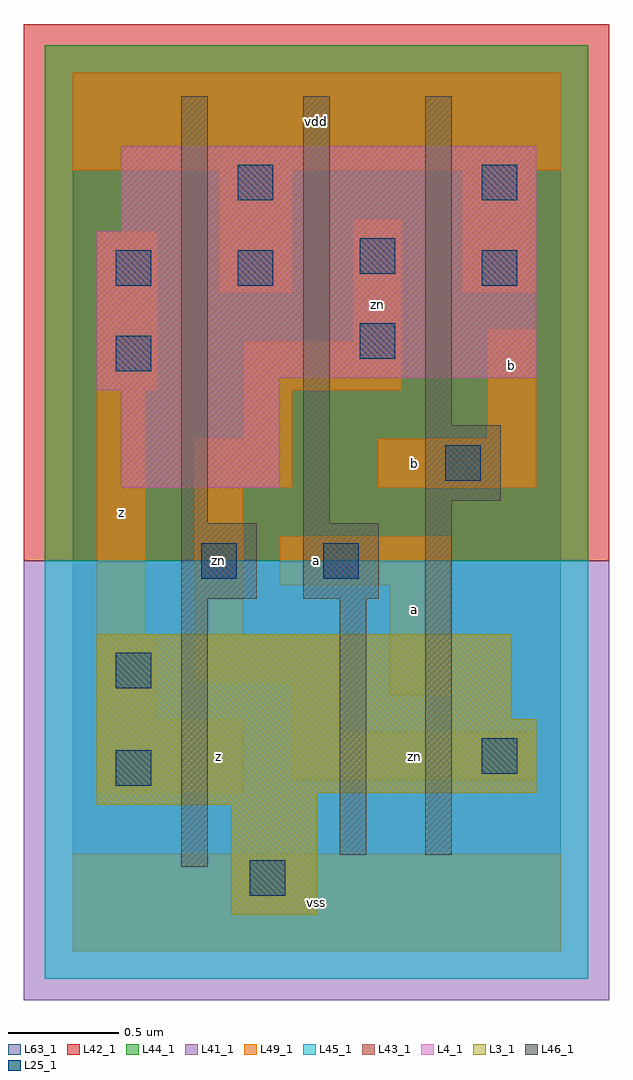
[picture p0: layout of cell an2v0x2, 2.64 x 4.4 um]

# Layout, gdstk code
import gdstk
lib = gdstk.Library(unit=1e-6, precision=1e-09)
def R(c, l, rs):  # rectangles x0, y0, x1, y1
    for r in rs: c.add(gdstk.rectangle(r[:2], r[2:], *l))
L3_1 = (3, 1)
L4_1 = (4, 1)
L25_1 = (25, 1)
L41_1 = (41, 1)
L42_1 = (42, 1)
L43_1 = (43, 1)
L44_1 = (44, 1)
L45_1 = (45, 1)
L46_1 = (46, 1)
L49_1 = (49, 1)
L63_1 = (63, 1)

an2v0x2 = lib.new_cell('an2v0x2')
R(an2v0x2, L3_1, [(0.715,0.165,1.1,0.66), (0.11,0.66,1.1,0.715), (0.11,0.715,2.09,1.045), (0.11,1.045,1.98,1.43)])
R(an2v0x2, L4_1, [(0.22,2.09,0.935,2.53), (0.11,2.53,0.935,2.585), (0.11,2.585,2.09,3.245), (0.22,3.245,2.09,3.63)])
R(an2v0x2, L25_1, [(0.8,0.25,0.96,0.41), (0.195,0.745,0.355,0.905), (1.845,0.8,2.005,0.96), (0.195,1.185,0.355,1.345), (0.58,1.68,0.74,1.84), (1.13,1.68,1.29,1.84), (1.68,2.12,1.84,2.28), (0.195,2.615,0.355,2.775), (1.295,2.67,1.455,2.83), (0.195,3,0.355,3.16), (0.745,3,0.905,3.16), (1.845,3,2.005,3.16), (1.295,3.055,1.455,3.215), (0.745,3.385,0.905,3.545), (1.845,3.385,2.005,3.545)])
R(an2v0x2, L41_1, [(-0.22,-0.22,2.42,1.76)])
R(an2v0x2, L42_1, [(-0.22,1.76,2.42,4.18)])
R(an2v0x2, L43_1, [(0.715,0.165,1.1,0.66), (0.11,0.66,1.1,0.715), (0.11,0.715,2.09,1.045), (0.11,1.045,1.98,1.43), (0.22,2.09,0.935,2.53), (0.11,2.53,0.935,2.585), (0.11,2.585,2.09,3.245), (0.22,3.245,2.09,3.63)])
R(an2v0x2, L44_1, [(-0.125,1.76,2.325,4.085)])
R(an2v0x2, L45_1, [(-0.125,-0.125,2.325,1.76)])
R(an2v0x2, L46_1, [(0.49,0.38,0.61,1.59), (1.205,0.435,1.325,1.59), (1.59,0.435,1.71,2.03), (0.49,1.59,0.83,1.93), (1.04,1.59,1.38,1.93), (0.49,1.93,0.61,3.855), (1.04,1.93,1.16,3.855), (1.59,2.03,1.93,2.37), (1.59,2.37,1.71,3.855)])
R(an2v0x2, L49_1, [(0,0,2.2,0.44), (0.11,0.715,0.77,1.045), (0.99,0.77,2.09,0.99), (0.99,0.99,1.21,1.21), (0.11,1.045,0.385,1.43), (1.43,1.155,1.705,1.65), (0.55,1.21,1.21,1.43), (0.11,1.43,0.33,2.53), (0.55,1.43,0.77,2.09), (0.935,1.65,1.705,1.87), (0.55,2.09,0.99,2.31), (1.375,2.09,2.09,2.31), (0.77,2.31,0.99,2.53), (1.87,2.31,2.09,2.805), (0.11,2.53,0.385,3.245), (0.77,2.53,1.485,2.75), (1.265,2.75,1.485,3.3), (0.66,2.97,0.99,3.52), (1.76,2.97,2.09,3.52), (0,3.52,2.2,3.96)])
R(an2v0x2, L63_1, [(0,0,2.2,3.96)])
an2v0x2.add(gdstk.Label('zn', (0.66,1.76), layer=49, texttype=1))
an2v0x2.add(gdstk.Label('z', (0.22,1.98), layer=49, texttype=1))
an2v0x2.add(gdstk.Label('z', (0.66,0.88), layer=49, texttype=1))
an2v0x2.add(gdstk.Label('zn', (0.66,1.76), layer=49, texttype=1))
an2v0x2.add(gdstk.Label('vss', (1.1,0.22), layer=49, texttype=1))
an2v0x2.add(gdstk.Label('a', (1.1,1.76), layer=49, texttype=1))
an2v0x2.add(gdstk.Label('a', (1.54,1.54), layer=49, texttype=1))
an2v0x2.add(gdstk.Label('b', (1.54,2.2), layer=49, texttype=1))
an2v0x2.add(gdstk.Label('zn', (1.375,2.915), layer=49, texttype=1))
an2v0x2.add(gdstk.Label('vdd', (1.1,3.74), layer=49, texttype=1))
an2v0x2.add(gdstk.Label('zn', (1.54,0.88), layer=49, texttype=1))
an2v0x2.add(gdstk.Label('b', (1.98,2.64), layer=49, texttype=1))

lib.write_gds('an2v0x2.gds')
